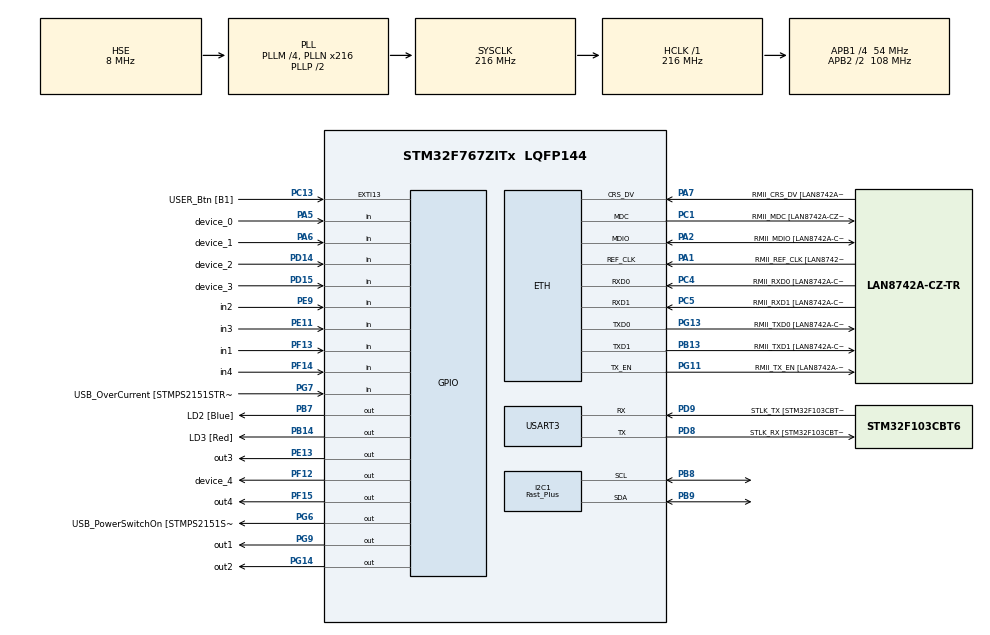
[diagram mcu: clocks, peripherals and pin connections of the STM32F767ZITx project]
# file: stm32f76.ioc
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VP_MBEDTLS_VS_MBEDTLS.Mode=Enabled
I2C1.I2C_Speed_Mode=I2C_Fast_Plus
LWIP.CHECKSUM_CHECK_ICMP=0
PB14.GPIO_Label=LD3 [Red]
PG6.GPIO_Label=USB_PowerSwitchOn [STMPS2151STR_EN]
PA14.GPIO_Label=TCK
PA6.GPIO_Label=device_1
PC5.Mode=RMII
PB13.Signal=ETH_TXD1
LWIP.CHECKSUM_GEN_ICMP=0
PG13.Signal=ETH_TXD0
RCC.SYSCLKSource=RCC_SYSCLKSOURCE_PLLCLK
LWIP.NETMASK_ADDRESS=255.255.255.000
USART3.VirtualMode-Asynchronous=VM_ASYNC
LWIP.CHECKSUM_GEN_IP=0
RCC.APB2TimFreq_Value=216000000
PH1/OSC_OUT.Signal=RCC_OSC_OUT
PD8.Signal=USART3_TX
PF12.GPIO_Label=device_4
LWIP.MEM_SIZE=4096
LWIP.MEMP_NUM_TCP_PCB_LISTEN=64
PC4.GPIO_Label=RMII_RXD0 [LAN8742A-CZ-TR_RXD0]
PE9.Signal=GPIO_Input
ETH.PHY_Name=LAN8742A_PHY_ADDRESS
VP_FREERTOS_VS_CMSIS_V1.Mode=CMSIS_V1
Mcu.Package=LQFP144
PB9.Signal=I2C1_SDA
NVIC.TimeBase=TIM1_UP_TIM10_IRQn
NVIC.TimeBaseIP=TIM1
RCC.APB2CLKDivider=RCC_HCLK_DIV2
PF14.Signal=GPIO_Input
RCC.APB1TimFreq_Value=108000000
PB13.Mode=RMII
PD15.Signal=GPIO_Input
PC4.Mode=RMII
LWIP.IP_ADDRESS=192.168.001.050
LWIP.MEMP_NUM_TCP_SEG=64
FREERTOS.Tasks01=defaultTask,0,128,StartDefaultTask,Default,NULL,Dynamic,NULL,NULL;httpTask,-1,8192,httpFunc,Default,NULL,Dynamic,NULL,NULL;ledTask,3,128,ledFunc,Default,NULL,Dynamic,NULL,NULL;loggingTask,-3,2048,loggingFunc,Default,NULL,Dynamic,NULL,NULL;mbTask,0,4096,mbFunc,Default,NULL,Dynamic,NULL,NULL;displayTask,-2,512,displayFunc,Default,NULL,Dynamic,NULL,NULL;ioTask,2,128,ioFunc,Default,NULL,Dynamic,NULL,NULL
PD9.GPIO_Label=STLK_TX [STM32F103CBT6_PA2]
PG9.Signal=GPIO_Output
LWIP.MEMP_NUM_RAW_PCB=8
PC13.Signal=GPXTI13
PF14.GPIO_Label=in4
LWIP.LWIP_DHCP=0
RCC.APB1CLKDivider=RCC_HCLK_DIV4
PF13.GPIO_Label=in1
PG13.GPIO_Label=RMII_TXD0 [LAN8742A-CZ-TR_TXD0]
LWIP.DEFAULT_THREAD_STACKSIZE=4096
LWIP.CHECKSUM_GEN_UDP=0
LWIP.LWIP_NETIF_LINK_CALLBACK=1
I2C1.Timing=0x00200922
LWIP.CHECKSUM_GEN_TCP=0
PE9.GPIO_Label=in2
PD8.Mode=Asynchronous
LWIP.CHECKSUM_GEN_ICMP6=0
PB14.Signal=GPIO_Output
PA5.Signal=GPIO_Input
FREERTOS.MEMORY_ALLOCATION=0
LWIP.LWIP_CHECKSUM_CTRL_PER_NETIF=0
LWIP.MEMP_NUM_PBUF=128
PA1.Mode=RMII
RCC.PRESCALERUSB=RCC_USBCLKSOURCE_PLL_DIV1_5
PG7.GPIO_Label=USB_OverCurrent [STMPS2151STR_FAULT]
PA1.GPIO_Label=RMII_REF_CLK [LAN8742A-CZ-TR_REFCLK0]
PF13.Signal=GPIO_Input
LWIP.SO_REUSE=1
PA13.Mode=Serial_Wire
PG14.GPIO_Label=out2
ETH.MediaInterface=ETH_MEDIA_INTERFACE_RMII
PE13.GPIO_Label=out3
PA5.GPIO_Label=device_0
PG11.Mode=RMII
ProjectManager.HeapSize=0x200
LWIP.Version=v2.1.2_Cube
NVIC.TIM1_UP_TIM10_IRQn=true\:0\:0\:false\:false\:true\:false\:false\:true
NVIC.PriorityGroup=NVIC_PRIORITYGROUP_4
PB8.Mode=I2C
PC15/OSC32_OUT.Signal=RCC_OSC32_OUT
PC1.Signal=ETH_MDC
PC1.Mode=RMII
Mcu.Family=STM32F7
RCC.CortexFreq_Value=216000000
PG6.Signal=GPIO_Output
PE11.GPIO_Label=in3
RCC.SYSCLKSourceVirtual=RCC_SYSCLKSOURCE_PLLCLK
PC14/OSC32_IN.Mode=LSE-External-Oscillator
PC13.GPIO_Label=USER_Btn [B1]
PB13.GPIO_Label=RMII_TXD1 [LAN8742A-CZ-TR_TXD1]
PD9.Mode=Asynchronous
PG11.Signal=ETH_TX_EN
ProjectManager.StackSize=0x400
Mcu.UserConstants=LWIP_SO_RCVTIMEO,1;LWIP_RCPIP_CORE_LOCKING,1;MEMP_NUM_NETCONN,6;LWIP_RAW,1
ETH.PHY_Value=0
PH0/OSC_IN.Mode=HSE-External-Clock-Source
LWIP.CHECKSUM_CHECK_UDP=0
RCC.HCLKFreq_Value=216000000
PF12.Signal=GPIO_Output
RCC.AHBFreq_Value=216000000
NVIC.ETH_IRQn=true\:6\:0\:true\:false\:true\:true\:false\:true
RCC.HSE_VALUE=8000000
LWIP.CHECKSUM_CHECK_TCP=0
RCC.PLLMUL=RCC_PLL_MUL9
PE13.Signal=GPIO_Output
PA14.Mode=Serial_Wire
VP_SYS_VS_tim1.Mode=TIM1
ETH.RxMode=ETH_RXINTERRUPT_MODE
PB7.Signal=GPIO_Output
PG13.Mode=RMII
MBEDTLS.MBEDTLS_PLATFORM_MEMORY=1
PH1/OSC_OUT.Mode=HSE-External-Clock-Source
FREERTOS.configTOTAL_HEAP_SIZE=256000
PB7.GPIO_Label=LD2 [Blue]
PA6.Signal=GPIO_Input
LWIP.CHECKSUM_CHECK_IP=0
LWIP.CHECKSUM_CHECK_ICMP6=0
PC14/OSC32_IN.Signal=RCC_OSC32_IN
PA2.GPIO_Label=RMII_MDIO [LAN8742A-CZ-TR_MDIO]
LWIP.CHECKSUM_BY_HARDWARE=1
PG11.GPIO_Label=RMII_TX_EN [LAN8742A-CZ-TR_TXEN]
PC5.Signal=ETH_RXD1
PB3.GPIO_Label=SWO
RCC.PLLSourceVirtual=RCC_PLLSOURCE_HSE
PD15.GPIO_Label=device_3
PG7.Signal=GPIO_Input
PA7.Mode=RMII
PC4.Signal=ETH_RXD0
PD9.Signal=USART3_RX
VP_RNG_VS_RNG.Mode=RNG_Activate
ETH.PhyAddress=0
LWIP.LWIP_CHECKSUM_ON_COPY=0
VP_LWIP_VS_Enabled.Mode=Enabled
LWIP.GATEWAY_ADDRESS=192.168.001.001
PD8.GPIO_Label=STLK_RX [STM32F103CBT6_PA3]
PA13.Signal=SYS_JTMS-SWDIO
ProjectManager.TargetToolchain=STM32CubeIDE
LWIP.TCPIP_THREAD_STACKSIZE=4096
PB9.Mode=I2C
RCC.USBFreq_Value=48000000
PE11.Signal=GPIO_Input
PA1.Signal=ETH_REF_CLK
PG9.GPIO_Label=out1
PG14.Signal=GPIO_Output
board=NUCLEO-F767ZI
RCC.VCOOutputFreq_Value=432000000
PH0/OSC_IN.Signal=RCC_OSC_IN
RCC.APB2Freq_Value=108000000
PC1.GPIO_Label=RMII_MDC [LAN8742A-CZ-TR_MDC]
PF15.GPIO_Label=out4
PF15.Signal=GPIO_Output
PD14.GPIO_Label=device_2
Mcu.Name=STM32F767ZITx
PA2.Signal=ETH_MDIO
PA13.GPIO_Label=TMS
PD14.Signal=GPIO_Input
RCC.48MHZClocksFreq_Value=24000000
PB3.Signal=SYS_JTDO-SWO
RCC.SYSCLKFreq_VALUE=216000000
PA7.GPIO_Label=RMII_CRS_DV [LAN8742A-CZ-TR_CRS_DV]
LWIP.LWIP_NETIF_STATUS_CALLBACK=1
PC5.GPIO_Label=RMII_RXD1 [LAN8742A-CZ-TR_RXD1]
PC15/OSC32_OUT.Mode=LSE-External-Oscillator
PA14.Signal=SYS_JTCK-SWCLK
RCC.HSI_VALUE=16000000
PH0/OSC_IN.GPIO_Label=MCO [STM32F103CBT6_PA8]
RCC.PLLQ=9
RCC.PLLM=4
RCC.PLLN=216
PA2.Mode=RMII
PB8.Signal=I2C1_SCL
RCC.APB1Freq_Value=54000000
LWIP.LWIP_DBG_MIN_LEVEL=LWIP_DBG_LEVEL_WARNING
PA7.Signal=ETH_CRS_DV

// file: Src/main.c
/* USER CODE BEGIN Header */
/**
 * *****************************************************************************
 * @file           : main.c
 * @brief          : Main program body
 ******************************************************************************
 * This notice applies to any and all portions of this file
 * that are not between comment pairs USER CODE BEGIN and
 * USER CODE END. Other portions of this file, whether
 * inserted by the user or by software development tools
 * are owned by their respective copyright owners.
 *
 * Copyright (c) 2019 STMicroelectronics International N.V.
 * All rights reserved.
 *
 * Redistribution and use in source and binary forms, with or without
 * modification, are permitted, provided that the following conditions are met:
 *
 * 1. Redistribution of source code must retain the above copyright notice,
 *    this list of conditions and the following disclaimer.
 * 2. Redistributions in binary form must reproduce the above copyright notice,
 *    this list of conditions and the following disclaimer in the documentation
 *    and/or other materials provided with the distribution.
 * 3. Neither the name of STMicroelectronics nor the names of other
 *    contributors to this software may be used to endorse or promote products
 *    derived from this software without specific written permission.
 * 4. This software, including modifications and/or derivative works of this
 *    software, must execute solely and exclusively on microcontroller or
 *    microprocessor devices manufactured by or for STMicroelectronics.
 * 5. Redistribution and use of this software other than as permitted under
 *    this license is void and will automatically terminate your rights under
 *    this license.
 *
 * THIS SOFTWARE IS PROVIDED BY STMICROELECTRONICS AND CONTRIBUTORS "AS IS"
 * AND ANY EXPRESS, IMPLIED OR STATUTORY WARRANTIES, INCLUDING, BUT NOT
 * LIMITED TO, THE IMPLIED WARRANTIES OF MERCHANTABILITY, FITNESS FOR A~
 * PARTICULAR PURPOSE AND NON-INFRINGEMENT OF THIRD PARTY INTELLECTUAL PROPERTY
 * RIGHTS ARE DISCLAIMED TO THE FULLEST EXTENT PERMITTED BY LAW. IN NO EVENT
 * SHALL STMICROELECTRONICS OR CONTRIBUTORS BE LIABLE FOR ANY DIRECT, INDIRECT,
 * INCIDENTAL, SPECIAL, EXEMPLARY, OR CONSEQUENTIAL DAMAGES (INCLUDING, BUT NOT
 * LIMITED TO, PROCUREMENT OF SUBSTITUTE GOODS OR SERVICES; LOSS OF USE, DATA,
 * OR PROFITS; OR BUSINESS INTERRUPTION) HOWEVER CAUSED AND ON ANY THEORY OF
 * LIABILITY, WHETHER IN CONTRACT, STRICT LIABILITY, OR TORT (INCLUDING
 * NEGLIGENCE OR OTHERWISE) ARISING IN ANY WAY OUT OF THE USE OF THIS SOFTWARE,
 * EVEN IF ADVISED OF THE POSSIBILITY OF SUCH DAMAGE.
 *
 ******************************************************************************
 */
/* USER CODE END Header */
#include "main.h"
#include "cmsis_os.h"
#include "mbedtls.h"

/* USER CODE BEGIN Includes */
#include "lwip.h"
#include "lwip/dhcp.h"
#include "lwip/tcpip.h"
#include "lwip/ip_addr.h"
#include "lwip/netdb.h"
#include "lwip/sockets.h"

#include "netif/ethernet.h"

#include <errno.h>
#include <stdio.h>
#include <stdlib.h>
#include <sys/unistd.h>

#include "colors.h"
#include "logging.h"

#include "ping.h"

#include "u8g2.h"
#include "u8x8_stm32_HAL.h"
/* USER CODE END Includes */

/* USER CODE BEGIN PD */
#define PING_USE_SOCKETS 1
#define LWIP_RAW 1
/* USER CODE END PD */

I2C_HandleTypeDef hi2c1;

RNG_HandleTypeDef hrng;

UART_HandleTypeDef huart3;

osThreadId defaultTaskHandle;
osThreadId httpTaskHandle;
osThreadId ledTaskHandle;
osThreadId loggingTaskHandle;
osThreadId mbTaskHandle;
osThreadId displayTaskHandle;
osThreadId ioTaskHandle;
/* USER CODE BEGIN PV */

SemaphoreHandle_t alloc_mutex;
SemaphoreHandle_t net_mutex;
QueueHandle_t loggingQueue;

extern int errno;
unsigned int deviceID = 0;

/* Variables needed to change PHY config */
extern char lwip_initialized;
extern struct netif gnetif;
extern ip4_addr_t ipaddr;
extern ip4_addr_t netmask;
extern ip4_addr_t gw;
extern uint8_t IP_ADDRESS[4];
extern uint8_t NETMASK_ADDRESS[4];
extern uint8_t GATEWAY_ADDRESS[4];

/* Modbus Variables */
char discrete_input_buf;
char discrete_output_buf;

/* Global Variable*/
uint8_t setLED;

/* Display */
static u8g2_t u8g2;

/* USER CODE END PV */

void SystemClock_Config(void);
static void MX_GPIO_Init(void);
static void MX_RNG_Init(void);
static void MX_USART3_UART_Init(void);
static void MX_I2C1_Init(void);
void StartDefaultTask(void const * argument);
void httpFunc(void const * argument);
void ledFunc(void const * argument);
void loggingFunc(void const * argument);
void mbFunc(void const * argument);
void displayFunc(void const * argument);
void ioFunc(void const * argument);

/* USER CODE BEGIN PFP */
extern void httpd_task(void* );
extern void modbus_cmd_handler_task(void);
/* USER CODE END PFP */

/* USER CODE BEGIN 0 */

/* Function which responds for drawing  */
void u8g2_prepare()
{
    u8g2_SetFont(&u8g2, u8g2_font_profont10_tf);
    u8g2_SetFontRefHeightExtendedText(&u8g2);
    u8g2_SetDrawColor(&u8g2, 1);
    u8g2_SetFontPosTop(&u8g2);
    u8g2_SetFontDirection(&u8g2, 0);
}

void u8g2_disc_circle(uint8_t shift){
    char message[64];
    u8g2_SetFont(&u8g2, u8g2_font_profont15_tf);
    u8g2_DrawStr(&u8g2, 0, 0, "MODBUS/TCP Device");
    u8g2_SetFont(&u8g2, u8g2_font_profont10_tf);
    snprintf(message, sizeof(message), "IP:     %03d.%03d.%03d.%03d",
	    IP_ADDRESS[0], IP_ADDRESS[1], IP_ADDRESS[2], IP_ADDRESS[3]);
    u8g2_DrawStr(&u8g2, 10, 15, message);
    snprintf(message, sizeof(message), "Inputs: %1d %1d %1d %1d",
	    discrete_input_buf>>0 & 1,
	    discrete_input_buf>>1 & 1,
	    discrete_input_buf>>2 & 1,
	    discrete_input_buf>>3 & 1);
    u8g2_DrawStr(&u8g2, 10, 25, message);
    snprintf(message, sizeof(message), "COILs:  %1d %1d %1d %1d",
	    discrete_output_buf>>0 & 1,
	    discrete_output_buf>>1 & 1,
	    discrete_output_buf>>2 & 1,
	    discrete_output_buf>>3 & 1);
    u8g2_DrawStr(&u8g2, 10, 35, message);
    u8g2_DrawCircle(&u8g2,0+shift,20+32,2,U8G2_DRAW_ALL);
    u8g2_DrawCircle(&u8g2,5+shift,20+32,2,U8G2_DRAW_ALL);
    u8g2_DrawCircle(&u8g2,10+shift,20+32,2,U8G2_DRAW_ALL);
}

uint8_t max = 150;
uint8_t step = 0;
uint8_t picture =0;

void draw(void)
{
    u8g2_prepare();
    u8g2_disc_circle(step);
}

int _write(int file, char * data, int len) {
    if ((file != STDOUT_FILENO) && (file != STDERR_FILENO)) {
        errno = EBADF;
        return -1;
    }

    // arbitrary timeout 1
    HAL_StatusTypeDef status = HAL_OK;
    status = HAL_UART_Transmit( & huart3, (uint8_t * ) data, len, 100);

    // return # of bytes written - as best we can tell
    return (status == HAL_OK ? len : 0);
}

/* changeIP function is like lwip_init */
/**
 * @brief 	This halts code execution for the supplied amount of seconds
 * 			while printing out the passed and remaining amount of wait.
 * @param  	seconds: The amount of seconds to wait.
 * @retval 	None
 */
void verbose_wait(int seconds)
{
	printf("\rWaiting %i seconds...\n", seconds);
	for(int i = 0; i < seconds; i++)
	{
		printf("\r%i/%i", i, seconds);
		fflush(stdout);
		HAL_Delay(1000);
	}
	printf("\rWating done!\n\r");

}

/* changeIP function is like lwip_init */
/**
 * @brief This sets the IP Address of the device
 * @param  None
 * @retval None
 */
void changeIP(void){

	while (xSemaphoreTake(net_mutex, 10) != pdTRUE);
	if(lwip_initialized)
		return;

	lwip_initialized = 1;
    /* IP addresses initialization */
    IP_ADDRESS[0] = 192;
    IP_ADDRESS[1] = 168;
    IP_ADDRESS[2] = 0;
    IP_ADDRESS[3] = 50;
    NETMASK_ADDRESS[0] = 255;
    NETMASK_ADDRESS[1] = 255;
    NETMASK_ADDRESS[2] = 255;
    NETMASK_ADDRESS[3] = 0;
    GATEWAY_ADDRESS[0] = 192;
    GATEWAY_ADDRESS[1] = 168;
    GATEWAY_ADDRESS[2] = 0;
    GATEWAY_ADDRESS[3] = 1;

    IP_ADDRESS[3] += deviceID;

    /* Initilialize the LwIP stack with RTOS */
    tcpip_init( NULL, NULL );

    /* IP addresses initialization without DHCP (IPv4) */
    IP4_ADDR(&ipaddr, IP_ADDRESS[0], IP_ADDRESS[1], IP_ADDRESS[2], IP_ADDRESS[3]);
    IP4_ADDR(&netmask, NETMASK_ADDRESS[0], NETMASK_ADDRESS[1] , NETMASK_ADDRESS[2], NETMASK_ADDRESS[3]);
    IP4_ADDR(&gw, GATEWAY_ADDRESS[0], GATEWAY_ADDRESS[1], GATEWAY_ADDRESS[2], GATEWAY_ADDRESS[3]);

    /* add the network interface (IPv4/IPv6) with RTOS */
    netif_add(&gnetif, &ipaddr, &netmask, &gw, NULL, &ethernetif_init, &tcpip_input);

    /* Registers the default network interface */
    netif_set_default(&gnetif);

    if (netif_is_link_up(&gnetif))
    {
	/* When the netif is fully configured this function must be called */
	netif_set_up(&gnetif);
    }
    else
    {
	/* When the netif link is down this function must be called */
	netif_set_down(&gnetif);
    }

    printf("\rIP Address set to: %03d.%03d.%03d.%03d\n",
	    IP_ADDRESS[0], IP_ADDRESS[1], IP_ADDRESS[2], IP_ADDRESS[3]);

	xSemaphoreGive(net_mutex);
    return;
}

/* USER CODE END 0 */

int main(void)
{

  /* MCU Configuration--------------------------------------------------------*/

  /* Reset of all peripherals, Initializes the Flash interface and the Systick. */
  HAL_Init();

  /* Configure the system clock */
  SystemClock_Config();

  /* Initialize all configured peripherals */
  MX_GPIO_Init();
  MX_RNG_Init();
  MX_USART3_UART_Init();
  MX_MBEDTLS_Init();
  MX_I2C1_Init();
  /* USER CODE BEGIN 2 */
    printf("\n\n\r+++++++++++++++++++++++++++++++++++++++\n");
#ifdef USE_TLS
    printf("\rBuild: TLS Enabled!\n");
#else
    printf("\rBuild: TLS Disabled!\n");
#endif
    printf("\rBuild: %s %s\n", __DATE__, __TIME__);
    printf("\rLOGLEVEL set to: %i!\n", showLogLevel);
    printf("\r%sInit done!\n", CRST);
    printf("\rWaiting for network switch...\n");
    verbose_wait(30); // necessary for the network switch
    if (HAL_GPIO_ReadPin(GPIOA, GPIO_PIN_5)) {
        printf("\rGPIO_PIN_A05 is high\n");
        deviceID += 1;
    }
    if (HAL_GPIO_ReadPin(GPIOA, GPIO_PIN_6)) {
        printf("\rGPIO_PIN_A06 is high\n");
        deviceID += 2;
    }
    if (HAL_GPIO_ReadPin(GPIOD, GPIO_PIN_14)) {
        printf("\rGPIO_PIN_D14 is high\n");
        deviceID += 4;
    }
    if (HAL_GPIO_ReadPin(GPIOD, GPIO_PIN_15)) {
        printf("\rGPIO_PIN_D15 is high\n");
        deviceID += 8;
    }
    if (HAL_GPIO_ReadPin(GPIOF, GPIO_PIN_12)) {
        printf("\rGPIO_PIN_F12 is high\n");
        deviceID += 16;
    }

    if ((deviceID == 0) || (deviceID == 31)) {
        printf("\rError: No shield connected!\n");
    }
    printf("\rDeviceID: %u\n", (unsigned int) deviceID);
    printf("\rDeviceSE: %u\n", (unsigned int) HAL_GetDEVID);
  /* USER CODE END 2 */

  /* USER CODE BEGIN RTOS_MUTEX */
    /* add mutexes, ... */
    alloc_mutex = xSemaphoreCreateMutex();
    net_mutex = xSemaphoreCreateMutex();
  /* USER CODE END RTOS_MUTEX */

  /* USER CODE BEGIN RTOS_QUEUES */
    /* add queues, ... */
    loggingQueue = xQueueCreate(6, sizeof(char[LOGLEN]));
    printf("\rStarting Scheduler!\n");
  /* USER CODE END RTOS_QUEUES */

  /* Create the thread(s) */
  /* definition and creation of defaultTask */
  osThreadDef(defaultTask, StartDefaultTask, osPriorityNormal, 0, 128);
  defaultTaskHandle = osThreadCreate(osThread(defaultTask), NULL);

  /* definition and creation of httpTask */
  osThreadDef(httpTask, httpFunc, osPriorityBelowNormal, 0, 8192);
  httpTaskHandle = osThreadCreate(osThread(httpTask), NULL);

  /* definition and creation of ledTask */
  osThreadDef(ledTask, ledFunc, osPriorityRealtime, 0, 128);
  ledTaskHandle = osThreadCreate(osThread(ledTask), NULL);

  /* definition and creation of loggingTask */
  osThreadDef(loggingTask, loggingFunc, osPriorityIdle, 0, 2048);
  loggingTaskHandle = osThreadCreate(osThread(loggingTask), NULL);

  /* definition and creation of mbTask */
  osThreadDef(mbTask, mbFunc, osPriorityNormal, 0, 4096);
  mbTaskHandle = osThreadCreate(osThread(mbTask), NULL);

  /* definition and creation of displayTask */
  osThreadDef(displayTask, displayFunc, osPriorityLow, 0, 512);
  displayTaskHandle = osThreadCreate(osThread(displayTask), NULL);

  /* definition and creation of ioTask */
  osThreadDef(ioTask, ioFunc, osPriorityHigh, 0, 128);
  ioTaskHandle = osThreadCreate(osThread(ioTask), NULL);

  /* Start scheduler */
  osKernelStart();

  /* We should never get here as control is now taken by the scheduler */
  /* Infinite loop */
    while (1) {

    }
}

void SystemClock_Config(void)
{
  RCC_OscInitTypeDef RCC_OscInitStruct = {0};
  RCC_ClkInitTypeDef RCC_ClkInitStruct = {0};
  RCC_PeriphCLKInitTypeDef PeriphClkInitStruct = {0};

  /** Configure LSE Drive Capability
  */
  HAL_PWR_EnableBkUpAccess();
  /** Configure the main internal regulator output voltage
  */
  __HAL_RCC_PWR_CLK_ENABLE();
  __HAL_PWR_VOLTAGESCALING_CONFIG(PWR_REGULATOR_VOLTAGE_SCALE1);
  /** Initializes the RCC Oscillators according to the specified parameters
  * in the RCC_OscInitTypeDef structure.
  */
  RCC_OscInitStruct.OscillatorType = RCC_OSCILLATORTYPE_HSE;
  RCC_OscInitStruct.HSEState = RCC_HSE_BYPASS;
  RCC_OscInitStruct.PLL.PLLState = RCC_PLL_ON;
  RCC_OscInitStruct.PLL.PLLSource = RCC_PLLSOURCE_HSE;
  RCC_OscInitStruct.PLL.PLLM = 4;
  RCC_OscInitStruct.PLL.PLLN = 216;
  RCC_OscInitStruct.PLL.PLLP = RCC_PLLP_DIV2;
  RCC_OscInitStruct.PLL.PLLQ = 9;
  if (HAL_RCC_OscConfig(&RCC_OscInitStruct) != HAL_OK)
  {
    Error_Handler();
  }
  /** Activate the Over-Drive mode
  */
  if (HAL_PWREx_EnableOverDrive() != HAL_OK)
  {
    Error_Handler();
  }
  /** Initializes the CPU, AHB and APB buses clocks
  */
  RCC_ClkInitStruct.ClockType = RCC_CLOCKTYPE_HCLK|RCC_CLOCKTYPE_SYSCLK
                              |RCC_CLOCKTYPE_PCLK1|RCC_CLOCKTYPE_PCLK2;
  RCC_ClkInitStruct.SYSCLKSource = RCC_SYSCLKSOURCE_PLLCLK;
  RCC_ClkInitStruct.AHBCLKDivider = RCC_SYSCLK_DIV1;
  RCC_ClkInitStruct.APB1CLKDivider = RCC_HCLK_DIV4;
  RCC_ClkInitStruct.APB2CLKDivider = RCC_HCLK_DIV2;

  if (HAL_RCC_ClockConfig(&RCC_ClkInitStruct, FLASH_LATENCY_7) != HAL_OK)
  {
    Error_Handler();
  }
  PeriphClkInitStruct.PeriphClockSelection = RCC_PERIPHCLK_USART3|RCC_PERIPHCLK_I2C1
                              |RCC_PERIPHCLK_CLK48;
  PeriphClkInitStruct.Usart3ClockSelection = RCC_USART3CLKSOURCE_PCLK1;
  PeriphClkInitStruct.I2c1ClockSelection = RCC_I2C1CLKSOURCE_PCLK1;
  PeriphClkInitStruct.Clk48ClockSelection = RCC_CLK48SOURCE_PLL;
  if (HAL_RCCEx_PeriphCLKConfig(&PeriphClkInitStruct) != HAL_OK)
  {
    Error_Handler();
  }
}

static void MX_I2C1_Init(void)
{

  hi2c1.Instance = I2C1;
  hi2c1.Init.Timing = 0x00200922;
  hi2c1.Init.OwnAddress1 = 0;
  hi2c1.Init.AddressingMode = I2C_ADDRESSINGMODE_7BIT;
  hi2c1.Init.DualAddressMode = I2C_DUALADDRESS_DISABLE;
  hi2c1.Init.OwnAddress2 = 0;
  hi2c1.Init.OwnAddress2Masks = I2C_OA2_NOMASK;
  hi2c1.Init.GeneralCallMode = I2C_GENERALCALL_DISABLE;
  hi2c1.Init.NoStretchMode = I2C_NOSTRETCH_DISABLE;
  if (HAL_I2C_Init(&hi2c1) != HAL_OK)
  {
    Error_Handler();
  }
  /** Configure Analogue filter
  */
  if (HAL_I2CEx_ConfigAnalogFilter(&hi2c1, I2C_ANALOGFILTER_ENABLE) != HAL_OK)
  {
    Error_Handler();
  }
  /** Configure Digital filter
  */
  if (HAL_I2CEx_ConfigDigitalFilter(&hi2c1, 0) != HAL_OK)
  {
    Error_Handler();
  }
  /** I2C Enable Fast Mode Plus
  */
  HAL_I2CEx_EnableFastModePlus(I2C_FASTMODEPLUS_I2C1);

}

static void MX_RNG_Init(void)
{

  hrng.Instance = RNG;
  if (HAL_RNG_Init(&hrng) != HAL_OK)
  {
    Error_Handler();
  }

}

static void MX_USART3_UART_Init(void)
{

  huart3.Instance = USART3;
  huart3.Init.BaudRate = 115200;
  huart3.Init.WordLength = UART_WORDLENGTH_8B;
  huart3.Init.StopBits = UART_STOPBITS_1;
  huart3.Init.Parity = UART_PARITY_NONE;
  huart3.Init.Mode = UART_MODE_TX_RX;
  huart3.Init.HwFlowCtl = UART_HWCONTROL_NONE;
  huart3.Init.OverSampling = UART_OVERSAMPLING_16;
  huart3.Init.OneBitSampling = UART_ONE_BIT_SAMPLE_DISABLE;
  huart3.AdvancedInit.AdvFeatureInit = UART_ADVFEATURE_NO_INIT;
  if (HAL_UART_Init(&huart3) != HAL_OK)
  {
    Error_Handler();
  }

}

static void MX_GPIO_Init(void)
{
  GPIO_InitTypeDef GPIO_InitStruct = {0};

  /* GPIO Ports Clock Enable */
  __HAL_RCC_GPIOC_CLK_ENABLE();
  __HAL_RCC_GPIOH_CLK_ENABLE();
  __HAL_RCC_GPIOA_CLK_ENABLE();
  __HAL_RCC_GPIOF_CLK_ENABLE();
  __HAL_RCC_GPIOE_CLK_ENABLE();
  __HAL_RCC_GPIOB_CLK_ENABLE();
  __HAL_RCC_GPIOD_CLK_ENABLE();
  __HAL_RCC_GPIOG_CLK_ENABLE();

  /*Configure GPIO pin Output Level */
  HAL_GPIO_WritePin(GPIOF, device_4_Pin|out4_Pin, GPIO_PIN_RESET);

  /*Configure GPIO pin Output Level */
  HAL_GPIO_WritePin(out3_GPIO_Port, out3_Pin, GPIO_PIN_RESET);

  /*Configure GPIO pin Output Level */
  HAL_GPIO_WritePin(GPIOB, LD3_Pin|LD2_Pin, GPIO_PIN_RESET);

  /*Configure GPIO pin Output Level */
  HAL_GPIO_WritePin(GPIOG, USB_PowerSwitchOn_Pin|out1_Pin|out2_Pin, GPIO_PIN_RESET);

  /*Configure GPIO pin : USER_Btn_Pin */
  GPIO_InitStruct.Pin = USER_Btn_Pin;
  GPIO_InitStruct.Mode = GPIO_MODE_IT_RISING;
  GPIO_InitStruct.Pull = GPIO_NOPULL;
  HAL_GPIO_Init(USER_Btn_GPIO_Port, &GPIO_InitStruct);

  /*Configure GPIO pins : device_0_Pin device_1_Pin */
  GPIO_InitStruct.Pin = device_0_Pin|device_1_Pin;
  GPIO_InitStruct.Mode = GPIO_MODE_INPUT;
  GPIO_InitStruct.Pull = GPIO_NOPULL;
  HAL_GPIO_Init(GPIOA, &GPIO_InitStruct);

  /*Configure GPIO pins : device_4_Pin out4_Pin */
  GPIO_InitStruct.Pin = device_4_Pin|out4_Pin;
  GPIO_InitStruct.Mode = GPIO_MODE_OUTPUT_PP;
  GPIO_InitStruct.Pull = GPIO_NOPULL;
  GPIO_InitStruct.Speed = GPIO_SPEED_FREQ_LOW;
  HAL_GPIO_Init(GPIOF, &GPIO_InitStruct);

  /*Configure GPIO pins : in1_Pin in4_Pin */
  GPIO_InitStruct.Pin = in1_Pin|in4_Pin;
  GPIO_InitStruct.Mode = GPIO_MODE_INPUT;
  GPIO_InitStruct.Pull = GPIO_NOPULL;
  HAL_GPIO_Init(GPIOF, &GPIO_InitStruct);

  /*Configure GPIO pins : in2_Pin in3_Pin */
  GPIO_InitStruct.Pin = in2_Pin|in3_Pin;
  GPIO_InitStruct.Mode = GPIO_MODE_INPUT;
  GPIO_InitStruct.Pull = GPIO_NOPULL;
  HAL_GPIO_Init(GPIOE, &GPIO_InitStruct);

  /*Configure GPIO pin : out3_Pin */
  GPIO_InitStruct.Pin = out3_Pin;
  GPIO_InitStruct.Mode = GPIO_MODE_OUTPUT_PP;
  GPIO_InitStruct.Pull = GPIO_NOPULL;
  GPIO_InitStruct.Speed = GPIO_SPEED_FREQ_LOW;
  HAL_GPIO_Init(out3_GPIO_Port, &GPIO_InitStruct);

  /*Configure GPIO pins : LD3_Pin LD2_Pin */
  GPIO_InitStruct.Pin = LD3_Pin|LD2_Pin;
  GPIO_InitStruct.Mode = GPIO_MODE_OUTPUT_PP;
  GPIO_InitStruct.Pull = GPIO_NOPULL;
  GPIO_InitStruct.Speed = GPIO_SPEED_FREQ_LOW;
  HAL_GPIO_Init(GPIOB, &GPIO_InitStruct);

  /*Configure GPIO pins : device_2_Pin device_3_Pin */
  GPIO_InitStruct.Pin = device_2_Pin|device_3_Pin;
  GPIO_InitStruct.Mode = GPIO_MODE_INPUT;
  GPIO_InitStruct.Pull = GPIO_NOPULL;
  HAL_GPIO_Init(GPIOD, &GPIO_InitStruct);

  /*Configure GPIO pins : USB_PowerSwitchOn_Pin out1_Pin out2_Pin */
  GPIO_InitStruct.Pin = USB_PowerSwitchOn_Pin|out1_Pin|out2_Pin;
  GPIO_InitStruct.Mode = GPIO_MODE_OUTPUT_PP;
  GPIO_InitStruct.Pull = GPIO_NOPULL;
  GPIO_InitStruct.Speed = GPIO_SPEED_FREQ_LOW;
  HAL_GPIO_Init(GPIOG, &GPIO_InitStruct);

  /*Configure GPIO pin : USB_OverCurrent_Pin */
  GPIO_InitStruct.Pin = USB_OverCurrent_Pin;
  GPIO_InitStruct.Mode = GPIO_MODE_INPUT;
  GPIO_InitStruct.Pull = GPIO_NOPULL;
  HAL_GPIO_Init(USB_OverCurrent_GPIO_Port, &GPIO_InitStruct);

}

void StartDefaultTask(void const * argument)
{
  /* USER CODE BEGIN 5 */

    osDelay(10);
    changeIP();
    /* Infinite loop */
    for (;;) {
        osDelay(1);
    }
  /* USER CODE END 5 */
}

void httpFunc(void const * argument)
{
  /* USER CODE BEGIN httpFunc */
    /* Infinite loop */
    osDelay(400);
    for(;;)
	{
		printf("\rStarting httpd!\n");
		//httpd_task("http_server");
		httpd_task("http_server");
		printf("\rhttpd task returned unexpected\n");
		osDelay(10);
    }
  /* USER CODE END httpFunc */
}

void ledFunc(void const * argument)
{
  /* USER CODE BEGIN ledFunc */
    osDelay(10);
    printf("\rLED Toggle Task started\n");
    /* Infinite loop */
    for(;;)
    {
		HAL_GPIO_TogglePin(LD2_GPIO_Port, LD2_Pin);
		osDelay(100);

		if(setLED != 0){
			HAL_GPIO_WritePin(LD3_GPIO_Port, LD3_Pin, GPIO_PIN_SET);
		}
		else{
			HAL_GPIO_WritePin(LD3_GPIO_Port, LD3_Pin, GPIO_PIN_RESET);
		}

    }
  /* USER CODE END ledFunc */
}

void loggingFunc(void const * argument)
{
  /* USER CODE BEGIN loggingFunc */
    osDelay(100);
    char logmessage[LOGLEN];
    printf("\rLogging Task started!\n");
    /* Infinite loop */
    for (;;) {
        /* Check if logging queue exists */
        if (loggingQueue != 0) {
            /* Check if content is in logging queue */
            if (xQueueReceive(loggingQueue, logmessage, (TickType_t) 1)) {
                printf("\r%s\n", (char * ) logmessage);
            }
        } else {
            printf("\rError loggingQueue does not exist!\n");
        }
        osDelay(1);
    }
  /* USER CODE END loggingFunc */
}

void mbFunc(void const * argument)
{
  /* USER CODE BEGIN mbFunc */
    osDelay(800);
    modbus_cmd_handler_task();
  /* Infinite loop */
  for(;;)
  {
    osDelay(1);
  }
  /* USER CODE END mbFunc */
}

void displayFunc(void const * argument)
{
  /* USER CODE BEGIN displayFunc */
	osDelay(100);
	//u8g2_Setup_ssd1306_i2c_128x64_noname_1(&u8g2, U8G2_R0, u8x8_byte_hw_i2c, u8x8_stm32_gpio_and_delay_cb); // init u8g2 structure
	u8g2_Setup_sh1106_i2c_128x64_noname_1(&u8g2, U8G2_R0, u8x8_byte_hw_i2c, u8x8_stm32_gpio_and_delay_cb); // init u8g2 structure
	u8g2_InitDisplay(&u8g2); // send init sequence to the display, display is in sleep mode after this,
	u8g2_SetDisplayRotation(&u8g2, U8G2_R2);
	u8g2_SetPowerSave(&u8g2, 0); // wake up display
	/* Infinite loop */
	for(;;)
	{
	u8g2_FirstPage(&u8g2);
	do
	{
		draw();
	}
	while ( u8g2_NextPage(&u8g2) ); // 8 times running

	if (step <= max)
		step += 3;
	else
	{
		step = 0;
		picture++;
		if ( picture >= 6)
		picture = 0;
	}

		osDelay(100);
	}
  /* USER CODE END displayFunc */
}

void ioFunc(void const * argument)
{
  /* USER CODE BEGIN ioFunc */
    osDelay(10);
    /* Infinite loop */
    for(;;)
    {
	// READ INPUTS
	if(HAL_GPIO_ReadPin(GPIOF, GPIO_PIN_13)){
	    discrete_input_buf |= 1UL;
	}
	else {
	    discrete_input_buf &= ~(1UL);
	}
	if(HAL_GPIO_ReadPin(GPIOE, GPIO_PIN_9)){
	    discrete_input_buf |= (1UL<<1);
	}
	else {
	    discrete_input_buf &= ~((1UL)<<1);
	}
	if(HAL_GPIO_ReadPin(GPIOE, GPIO_PIN_11)){
	    discrete_input_buf |= (1UL<<2);
	}
	else {
	    discrete_input_buf &= ~((1UL)<<2);
	}
	if(HAL_GPIO_ReadPin(GPIOF, GPIO_PIN_14)){
	    discrete_input_buf |= (1UL<<3);
	}
	else {
	    discrete_input_buf &= ~((1UL)<<3);
	}

	//WRITE OUTPUTS
	if(discrete_output_buf & (1 << 0)){
	    HAL_GPIO_WritePin(GPIOG, GPIO_PIN_9, GPIO_PIN_SET);
	}
	else{
	    HAL_GPIO_WritePin(GPIOG, GPIO_PIN_9, GPIO_PIN_RESET);
	}
	if(discrete_output_buf & (1 << 1)){
	    HAL_GPIO_WritePin(GPIOG, GPIO_PIN_14, GPIO_PIN_SET);
	}
	else{
	    HAL_GPIO_WritePin(GPIOG, GPIO_PIN_14, GPIO_PIN_RESET);
	}
	if(discrete_output_buf & (1 << 2)){
	    HAL_GPIO_WritePin(GPIOF, GPIO_PIN_15, GPIO_PIN_SET);
	}
	else{
	    HAL_GPIO_WritePin(GPIOF, GPIO_PIN_15, GPIO_PIN_RESET);
	}
	if(discrete_output_buf & (1 << 3)){
	    HAL_GPIO_WritePin(GPIOE, GPIO_PIN_13, GPIO_PIN_SET);
	}
	else{
	    HAL_GPIO_WritePin(GPIOE, GPIO_PIN_13, GPIO_PIN_RESET);
	}
	osDelay(10);
    }
  /* USER CODE END ioFunc */
}

void HAL_TIM_PeriodElapsedCallback(TIM_HandleTypeDef *htim)
{
  if (htim->Instance == TIM1) {
    HAL_IncTick();
  }
}

void Error_Handler(void)
{
  /* USER CODE BEGIN Error_Handler_Debug */
    /* User can add his own implementation to report the HAL error return state */
    while(1)
    {
    	printf("\n\rIn error handler?!\n");
    }
  /* USER CODE END Error_Handler_Debug */
}

#ifdef  USE_FULL_ASSERT
/**
  * @brief  Reports the name of the source file and the source line number
  *         where the assert_param error has occurred.
  * @param  file: pointer to the source file name
  * @param  line: assert_param error line source number
  * @retval None
  */
void assert_failed(uint8_t *file, uint32_t line)
{
  /* USER CODE BEGIN 6 */
    char sendBuf[256];
    snprintf(sendBuf, sizeof(sendBuf), "Wrong parameters value: file %s on line %d\r\n", file, line);
    logger(LOG_ERR, 1, sendBuf);
  /* USER CODE END 6 */
}
#endif /* USE_FULL_ASSERT */

/************************ (C) COPYRIGHT STMicroelectronics *****END OF FILE****/
